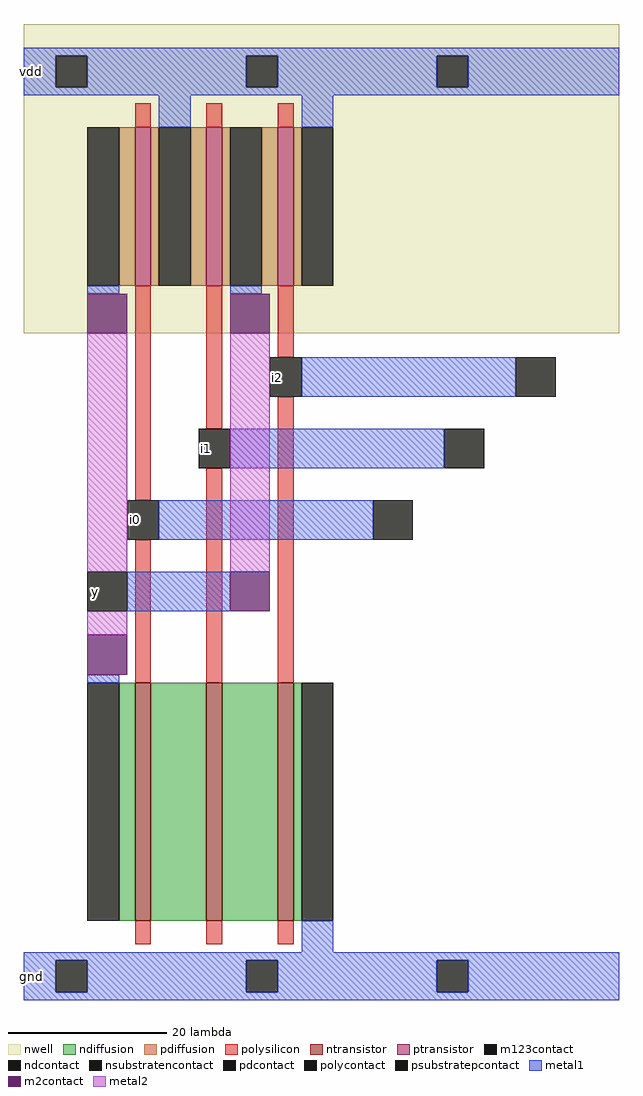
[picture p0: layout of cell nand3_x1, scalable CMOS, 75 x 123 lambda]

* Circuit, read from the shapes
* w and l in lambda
.subckt nand3_x1 i0 i1 i2 y vdd gnd
M1 n1 i0 y gnd nfet w=30 l=2
M2 n2 i1 n1 gnd nfet w=30 l=2
M3 gnd i2 n2 gnd nfet w=30 l=2
M4 vdd i0 y vdd pfet w=20 l=2
M5 y i1 vdd vdd pfet w=20 l=2
M6 vdd i2 y vdd pfet w=20 l=2
.ends

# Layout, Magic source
magic
tech scmos
<< nwell >>
rect 0 84 75 123
<< ntransistor >>
rect 14 10 16 40
rect 23 10 25 40
rect 32 10 34 40
<< ptransistor >>
rect 14 90 16 110
rect 23 90 25 110
rect 32 90 34 110
<< ndiffusion >>
rect 12 10 14 40
rect 16 10 23 40
rect 25 10 32 40
rect 34 10 35 40
<< pdiffusion >>
rect 12 90 14 110
rect 16 90 17 110
rect 21 90 23 110
rect 25 90 26 110
rect 30 90 32 110
rect 34 90 35 110
<< ndcontact >>
rect 8 10 12 40
rect 35 10 39 40
<< pdcontact >>
rect 8 90 12 110
rect 17 90 21 110
rect 26 90 30 110
rect 35 90 39 110
<< psubstratepcontact >>
rect 4 1 8 5
rect 28 1 32 5
rect 52 1 56 5
<< nsubstratencontact >>
rect 4 115 8 119
rect 28 115 32 119
rect 52 115 56 119
<< polysilicon >>
rect 14 110 16 113
rect 23 110 25 113
rect 32 110 34 113
rect 14 63 16 90
rect 23 72 25 90
rect 32 81 34 90
rect 14 40 16 58
rect 23 40 25 67
rect 32 40 34 76
rect 14 7 16 10
rect 23 7 25 10
rect 32 7 34 10
<< polycontact >>
rect 31 76 35 81
rect 22 67 26 72
rect 13 58 17 63
<< metal1 >>
rect 0 119 75 120
rect 0 115 4 119
rect 8 115 28 119
rect 32 115 52 119
rect 56 115 75 119
rect 0 114 75 115
rect 17 110 21 114
rect 35 110 39 114
rect 8 89 12 90
rect 26 89 30 90
rect 35 76 62 81
rect 26 67 53 72
rect 17 58 44 63
rect 13 49 26 54
rect 8 40 12 41
rect 35 6 39 10
rect 0 5 75 6
rect 0 1 4 5
rect 8 1 28 5
rect 32 1 52 5
rect 56 1 75 5
rect 0 0 75 1
<< m2contact >>
rect 8 84 13 89
rect 26 84 31 89
rect 26 49 31 54
rect 8 41 13 46
<< metal2 >>
rect 8 54 13 84
rect 26 54 31 84
rect 8 46 13 49
<< m123contact >>
rect 8 49 13 54
rect 62 76 67 81
rect 53 67 58 72
rect 44 58 49 63
<< labels >>
rlabel metal1 13 58 15 63 0 i0
port 1 nsew
rlabel metal1 22 67 24 72 0 i1
port 2 nsew
rlabel metal1 31 76 33 81 0 i2
port 3 nsew
rlabel metal1 8 49 10 54 0 y
port 4 nsew
rlabel metal1 0 114 2 120 0 vdd
port 5 nsew
rlabel metal1 0 0 2 6 0 gnd
port 6 nsew
<< end >>
